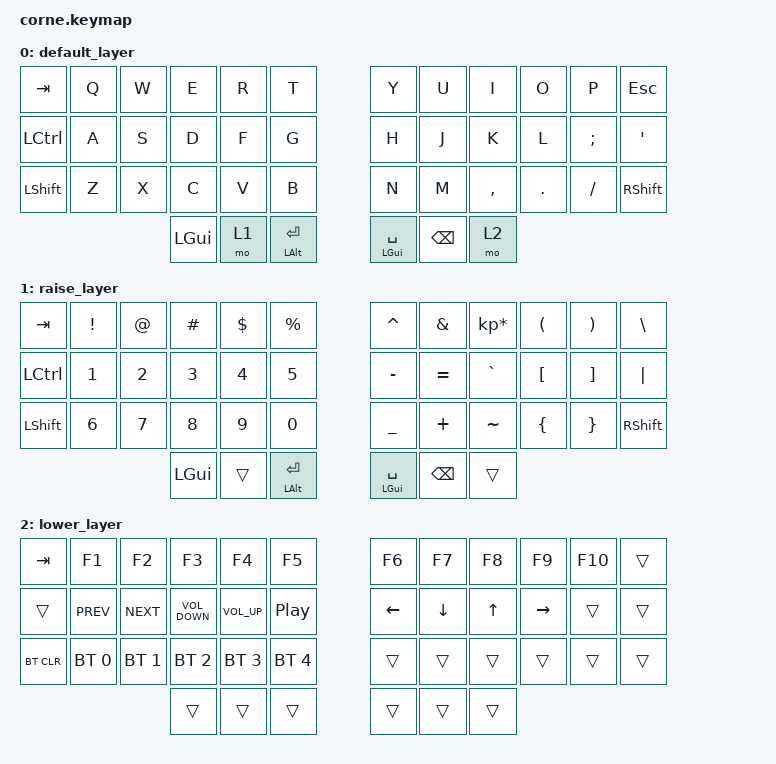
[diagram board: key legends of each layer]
/*
 * Copyright (c) 2020 The ZMK Contributors
 *
 * SPDX-License-Identifier: MIT
 */

#include <behaviors.dtsi>
#include <dt-bindings/zmk/bt.h>
#include <dt-bindings/zmk/keys.h>

/ {
    keymap {
        compatible = "zmk,keymap";

        default_layer {
            // -----------------------------------------------------------------------------------------
            // |  TAB |  Q  |  W  |  E  |  R  |  T  |   |  Y  |  U   |  I  |  O  |  P  | BKSP |
            // | CTRL |  A  |  S  |  D  |  F  |  G  |   |  H  |  J   |  K  |  L  |  ;  |  '   |
            // | SHFT |  Z  |  X  |  C  |  V  |  B  |   |  N  |  M   |  ,  |  .  |  /  | ESC  |
            //                    | GUI | LWR | SPC |   | ENT | RSE  | ALT |

            bindings = <
  &kp TAB  &kp Q  &kp W     &kp E  &kp R           &kp T             &kp Y          &kp U      &kp I    &kp O     &kp P       &kp ESCAPE
&kp LCTRL  &kp A  &kp S     &kp D  &kp F           &kp G             &kp H          &kp J      &kp K    &kp L  &kp SEMI         &kp APOS
&kp LSHFT  &kp Z  &kp X     &kp C  &kp V           &kp B             &kp N          &kp M  &kp COMMA  &kp DOT  &kp FSLH  &kp RIGHT_SHIFT
                         &kp LGUI  &mo 1  &mt LALT ENTER    &mt LGUI SPACE  &kp BACKSPACE      &mo 2
            >;
        };

        raise_layer {
            // -----------------------------------------------------------------------------------------
            // |  TAB |  !  |  @  |  #  |  $  |  %  |   |  ^  |  &  |  *  |  (  |  )  | BKSP |
            // | CTRL |     |     |     |     |     |   |  -  |  =  |  [  |  ]  |  \  |  `   |
            // | SHFT |     |     |     |     |     |   |  _  |  +  |  {  |  }  | "|" |  ~   |
            //                    | GUI |     | SPC |   | ENT |     | ALT |

            bindings = <
  &kp TAB      &kp EXCL        &kp AT      &kp HASH      &kp DLLR     &kp PRCNT         &kp CARET       &kp AMPS  &kp KP_MULTIPLY  &kp LPAR           &kp RPAR    &kp BACKSLASH
&kp LCTRL  &kp NUMBER_1  &kp NUMBER_2  &kp NUMBER_3  &kp NUMBER_4  &kp NUMBER_5         &kp MINUS      &kp EQUAL        &kp GRAVE  &kp LBKT  &kp RIGHT_BRACKET         &kp PIPE
&kp LSHFT  &kp NUMBER_6  &kp NUMBER_7  &kp NUMBER_8  &kp NUMBER_9  &kp NUMBER_0         &kp UNDER       &kp PLUS        &kp TILDE  &kp LBRC           &kp RBRC  &kp RIGHT_SHIFT
                                           &kp LGUI        &trans  &mt LALT RET    &mt LGUI SPACE  &kp BACKSPACE           &trans
            >;
        };

        lower_layer {
            // -----------------------------------------------------------------------------------------
            // |  TAB |  1  |  2  |  3  |  4  |  5  |   |  6  |  7  |  8  |  9  |  0  | BKSP |
            // | BTCLR| BT1 | BT2 | BT3 | BT4 | BT5 |   | LFT | DWN |  UP | RGT |     |      |
            // | SHFT |     |     |     |     |     |   |     |     |     |     |     |      |
            //                    | GUI |     | SPC |   | ENT |     | ALT |

            bindings = <
   &kp TAB        &kp F1        &kp F2             &kp F3           &kp F4            &kp F5      &kp F6    &kp F7  &kp F8     &kp F9  &kp F10  &trans
    &trans    &kp C_PREV    &kp C_NEXT  &kp C_VOLUME_DOWN  &kp C_VOLUME_UP  &kp C_PLAY_PAUSE    &kp LEFT  &kp DOWN  &kp UP  &kp RIGHT   &trans  &trans
&bt BT_CLR  &bt BT_SEL 0  &bt BT_SEL 1       &bt BT_SEL 2     &bt BT_SEL 3      &bt BT_SEL 4      &trans    &trans  &trans     &trans   &trans  &trans
                                                   &trans           &trans            &trans      &trans    &trans  &trans
            >;
        };
    };
};
